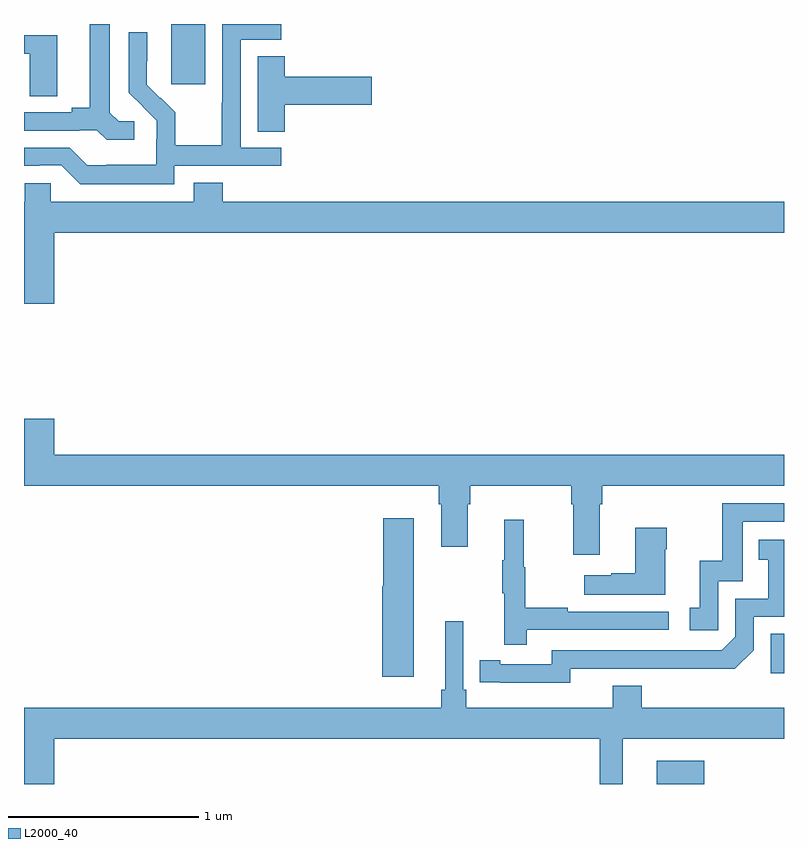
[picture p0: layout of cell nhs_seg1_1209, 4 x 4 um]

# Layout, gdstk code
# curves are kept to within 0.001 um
import gdstk
lib = gdstk.Library(unit=1e-6, precision=1e-09)
def R(c, l, rs):  # rectangles x0, y0, x1, y1
    for r in rs: c.add(gdstk.rectangle(r[:2], r[2:], *l))
def P(c, l, *ps):  # polygons
    for p in ps: c.add(gdstk.Polygon(p, *l))
L2000_40 = (2000, 40)

nhs_seg1_1209 = lib.new_cell('nhs_seg1_1209')
R(nhs_seg1_1209, L2000_40, [(180.329,514.199,180.58,514.321), (180.93,514.782,181,514.989), (177.776,517.881,177.955,518.199)])
P(nhs_seg1_1209, L2000_40, [(177.792,517.452),(178.354,517.452),(178.354,517.548),(178.14,517.548),(178.14,518.115),(178.354,518.115),(178.354,518.199),(178.044,518.199),(178.044,517.784),(178.042,517.784),(178.042,517.561),(177.797,517.561),(177.797,517.735),(177.72,517.812),(177.717,517.809),(177.647,517.88),(177.648,518.156),(177.552,518.156),(177.552,517.838),(177.698,517.69),(177.698,517.593),(177.696,517.593),(177.696,517.459),(177.433,517.459),(177.433,517.455),(177.333,517.455),(177.24,517.548),(177,517.548),(177,517.452),(177.08,517.452),(177.08,517.455),(177.195,517.455),(177.295,517.355),(177.792,517.355)],
  [(177.58,517.686),(177.498,517.686),(177.451,517.733),(177.451,518.199),(177.347,518.199),(177.347,517.757),(177.251,517.757),(177.251,517.734),(177,517.734),(177,517.638),(177.29,517.638),(177.29,517.641),(177.384,517.641),(177.436,517.589),(177.58,517.589)],
  [(177.175,518.139),(177,518.139),(177,518.043),(177.03,518.043),(177.03,517.819),(177.175,517.819)],
  [(178.373,517.775),(178.831,517.775),(178.831,517.922),(178.373,517.922),(178.373,518.03),(178.229,518.03),(178.229,517.633),(178.373,517.633)],
  [(177.16,517.1),(181,517.1),(181,517.264),(178.046,517.264),(178.046,517.363),(177.893,517.363),(177.893,517.264),(177.141,517.264),(177.141,517.362),(177.003,517.362),(177.003,517.264),(177,517.264),(177,516.726),(177.16,516.726)],
  [(180.031,515.672),(180.044,515.672),(180.044,515.768),(181,515.768),(181,515.932),(177.16,515.932),(177.16,516.121),(177,516.121),(177,515.768),(179.183,515.768),(179.183,515.672),(179.195,515.672),(179.195,515.448),(179.335,515.448),(179.335,515.672),(179.348,515.672),(179.348,515.768),(179.879,515.768),(179.879,515.672),(179.891,515.672),(179.891,515.406),(180.031,515.406)],
  [(180.654,515.265),(180.783,515.265),(180.783,515.58),(181,515.58),(181,515.676),(180.675,515.676),(180.675,515.374),(180.557,515.374),(180.557,515.127),(180.504,515.127),(180.504,515.007),(180.654,515.007)],
  [(179.05,515.599),(178.892,515.599),(178.892,515.241),(178.886,515.241),(178.886,514.764),(179.05,514.764)],
  [(179.645,515.01),(180.394,515.01),(180.394,515.106),(179.861,515.106),(179.861,515.126),(179.638,515.126),(179.638,515.34),(179.63,515.34),(179.63,515.59),(179.528,515.59),(179.528,515.377),(179.517,515.377),(179.517,515.203),(179.528,515.203),(179.528,514.932),(179.645,514.932)],
  [(180.376,515.435),(180.384,515.435),(180.384,515.548),(180.218,515.548),(180.218,515.309),(180.092,515.309),(180.092,515.299),(179.949,515.299),(179.949,515.195),(180.376,515.195)],
  [(179.874,514.806),(180.742,514.805),(180.84,514.902),(180.84,515.079),(181,515.079),(181,515.485),(180.868,515.485),(180.868,515.379),(180.917,515.379),(180.917,515.175),(180.744,515.175),(180.744,514.974),(180.672,514.902),(179.778,514.902),(179.778,514.83),(179.506,514.83),(179.506,514.85),(179.398,514.85),(179.398,514.734),(179.874,514.733)],
  [(177.16,514.436),(180.03,514.436),(180.03,514.199),(180.151,514.199),(180.151,514.436),(181,514.436),(181,514.6),(180.251,514.6),(180.251,514.717),(180.098,514.717),(180.098,514.6),(179.327,514.6),(179.327,514.696),(179.313,514.696),(179.313,515.056),(179.216,515.056),(179.216,514.696),(179.197,514.696),(179.197,514.6),(177,514.6),(177,514.199),(177.16,514.199)])

lib.write_gds('nhs_seg1_1209.gds')
